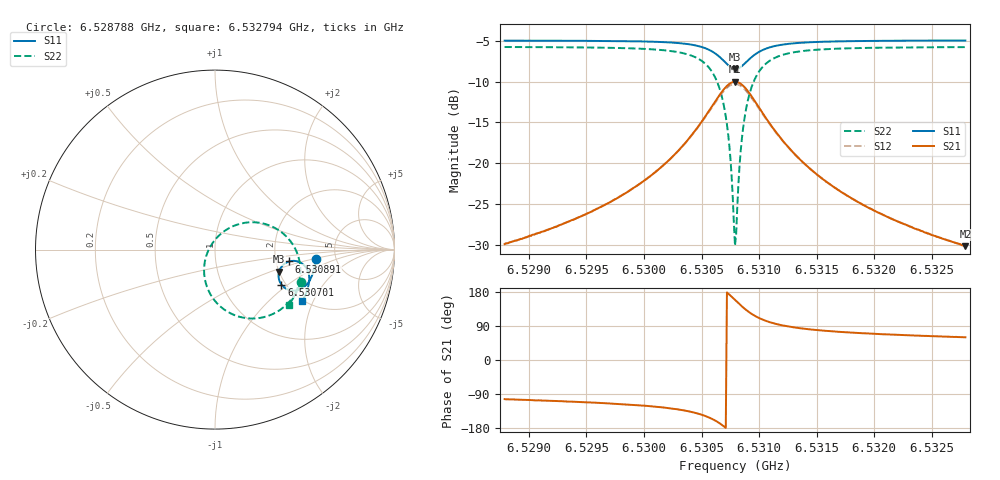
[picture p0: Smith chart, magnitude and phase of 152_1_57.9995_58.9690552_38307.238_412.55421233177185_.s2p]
#  HZ  S  RI  R  50.00
! Rohde & Schwarz Vector Network Analyzer
! Rohde-Schwarz,ZNB20-2Port,1311601062101988,3.16
! Created: UTC 3/21/2024, 12:57:04 AM
! freq[Hz]  re:S11  im:S11  re:S21  im:S21  re:S12  im:S12  re:S22  im:S22
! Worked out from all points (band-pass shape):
!   401 points, 6.528788 GHz to 6.532794 GHz, reference 50 ohm
!   highest |S21| = -10.02 dB at 6.530791 GHz (marker M1); lowest = -30.2 dB at 6.532794 GHz (marker M2)
!   |S21| within 3 dB of the highest: 6.530592 GHz to 6.530992 GHz (400.7 kHz wide, 0.00614 % of centre)
!   lowest |S11| = -8.5 dB at 6.530791 GHz (marker M3), VSWR 2.21, Z = 100 - j28.8 ohm
!   |S11| at or under -10 dB: nowhere
!   |S22| runs from -30.1 to -5.8 dB; largest |S21 - S12| = 0.013
!   S11 on the Smith chart (normalised r, x): 6.528788 GHz: 3.49, -0.53; 6.530701 GHz: 1.90, -0.90; 6.530891 GHz: 2.36, -0.38; 6.532794 GHz: 1.95, -1.66
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6.5287883e9  0.5606 -0.0521  -0.00733 -0.0311  -0.00821 -0.0311  0.4815 -0.1823
6.5294592e9  0.5512 -0.1087  -0.0173 -0.0443  -0.0182 -0.044  0.4492 -0.2449
6.5298397e9  0.5401 -0.145  -0.0298 -0.0584  -0.0315 -0.0577  0.4149 -0.29
6.5301301e9  0.5241 -0.1773  -0.0517 -0.0764  -0.0539 -0.0748  0.3651 -0.3342
6.5303604e9  0.4973 -0.2077  -0.0922 -0.0964  -0.0953 -0.0932  0.2821 -0.3737
6.5305306e9  0.4528 -0.2278  -0.1625 -0.1034  -0.1649 -0.0965  0.1527 -0.3783
6.5306308e9  0.4068 -0.2228  -0.234 -0.0765  -0.2332 -0.0662  0.0327 -0.3193
6.5307009e9  0.3705 -0.1951  -0.2869 -0.0165  -0.2807 -0.00589  -0.0445 -0.2081
6.5307409e9  0.3566 -0.1666  -0.3034 0.0379  -0.294 0.0465  -0.0609 -0.1147
6.530781e9  0.355 -0.1322  -0.2986 0.1  -0.2873 0.105  -0.041 -0.0138
6.530791e9  0.3569 -0.1235  -0.2937 0.1153  -0.2821 0.1192  -0.0296 0.0101
6.530801e9  0.3597 -0.115  -0.2873 0.13  -0.2756 0.1327  -0.0162 0.033
6.530811e9  0.3634 -0.1069  -0.2794 0.1439  -0.2677 0.1457  -0.000491 0.0541
6.5308311e9  0.3731 -0.0925  -0.2598 0.1686  -0.2488 0.1686  0.036 0.0909
6.5308511e9  0.3851 -0.0806  -0.2368 0.1885  -0.2271 0.187  0.0774 0.1192
6.5308911e9  0.4127 -0.0662  -0.1868 0.2126  -0.1796 0.2094  0.1645 0.149
6.5309612e9  0.4569 -0.0652  -0.1093 0.2151  -0.1055 0.2119  0.2947 0.1378
6.5310614e9  0.496 -0.0869  -0.0426 0.1836  -0.0407 0.1818  0.4025 0.0681
6.5312116e9  0.5192 -0.1231  -0.00199 0.1358  -0.000654 0.1351  0.4614 -0.0296
6.5314619e9  0.5255 -0.1669  0.0154 0.0888  0.0165 0.0886  0.476 -0.129
6.5321328e9  0.5092 -0.2381  0.0178 0.0428  0.0186 0.0426  0.4474 -0.2463
6.5327937e9  0.4851 -0.289  0.0155 0.0269  0.0162 0.0267  0.4129 -0.3064
